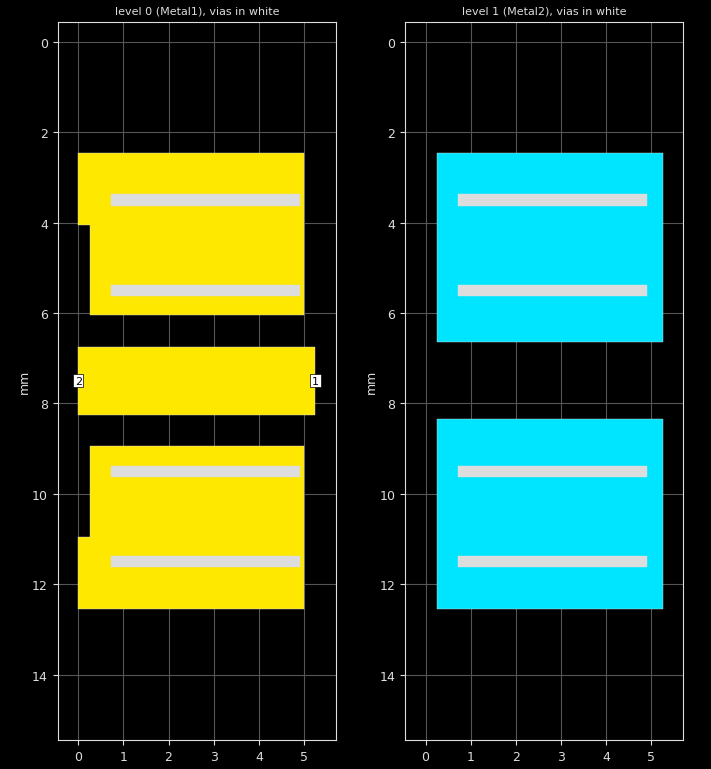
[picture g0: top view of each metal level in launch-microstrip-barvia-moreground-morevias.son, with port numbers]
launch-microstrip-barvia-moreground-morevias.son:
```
FTYP SONPROJ 18 ! Sonnet Project File
VER 17.56
HEADER
LIC antikernel2.1.50170 ac1f6b6437c5 havequick azonenberg Level3Gold
DAT 04/06/2021 21:40:31
BUILT_BY_CREATED dxf 17.52.2 05/01/2020 05:35:06
BUILT_BY_SAVED sonnet 17.56
MDATE 04/06/2021 21:40:31
HDATE 04/06/2021 21:40:31
ANN Created by dxfgeo, Sonnet Software Inc.
END HEADER
DIM
ANG DEG
CAP PF
CON /OH
FREQ GHZ
IND NH
LNG MM
RES OH
END DIM
CONTROL
VARSWP
OPTIONS  -dj
SPEED 0
CACHE_ABS 1
Q_ACC N
END CONTROL
GEO
SYM
TMET "Free Space" 0 FREESPACE 376.7303136 0 0 0
BMET "Free Space" 0 FREESPACE 376.7303136 0 0 0
MET "Copper 1oz thick" 2 TMM 58000000 0.5 0.035 2
MET "Nickel " 3 TMM 14300000 0.5 3.5e-05 2
MET "Copper 0.5oz" 1 NOR 58000000 0.5 0.0175 
MET "Unknown_metal" 1 NOR INF 0.5 0 
MET "Unknown_metal" 1 VOL INF 0
BRI "Alumina (96%)" 0 9.4 0.0004 0 
BRI "Alumina (99.5%)" 0 9.9 0.0001 0 
BRI "Aluminum Nitride" 0 8.6 0.0003 0 
BRI "Arlon 25FR" 0 3.58 0.0035 0 
BRI "Arlon 25N" 0 3.38 0.0025 0 
BRI "Arlon AD5" 0 5.1 0.003 0 
BRI "Arlon AD10" 0 10.2 0.005 0 
BRI "Arlon AD250" 0 2.5 0.0018 0 
BRI "Arlon AD255A" 0 2.55 0.0015 0 
BRI "Arlon AD260A" 0 2.6 0.0018 0 
BRI "Arlon AD270" 0 2.7 0.0023 0 
BRI "Arlon AD300A" 0 3 0.002 0 
BRI "Arlon AD320A" 0 3.2 0.0032 0 
BRI "Arlon AD350A" 0 3.5 0.003 0 
BRI "Arlon AD410" 0 4.1 0.003 0 
BRI "Arlon AD430" 0 4.3 0.003 0 
BRI "Arlon AD450" 0 4.5 0.0035 0 
BRI "Arlon AD600" 0 6.15 0.003 0 
BRI "Arlon AD1000" 0 10.2 0.0023 0 
BRI "Arlon AR1000" 0 9.8 0.003 0 
BRI "Arlon CLTE" 0 2.96 0.0023 0 
BRI "Arlon CLTE-AT" 0 3 0.0013 0 
BRI "Arlon CLTE-P" 0 2.94 0.0025 0 
BRI "Arlon CLTE-XT" 0 2.94 0.0012 0 
BRI "Arlon Cu 217LX" 0 2.17 0.0009 0 
BRI "Arlon Cu 233LX" 0 2.33 0.0013 0 
BRI "Arlon Cu 250GT" 0 2.5 0.001 0 
BRI "Arlon Cu 250GX" 0 2.5 0.0018 0 
BRI "Arlon Cu 6250" 0 2.32 0.0013 0 
BRI "Arlon Cu 6700" 0 2.35 0.0025 0 
BRI "Arlon Di 522" 0 2.5 0.001 0 
BRI "Arlon Di 527" 0 2.5 0.0018 0 
BRI "Arlon Di 870" 0 2.33 0.0013 0 
BRI "Arlon Di 880" 0 2.17 0.0009 0 
BRI "Arlon Iso 917" 0 2.17 0.0013 0 
BRI "Arlon Iso 933" 0 2.33 0.0016 0 
BRI "Arlon Multi HF" 0 3.7 0.004 0 
BRI "Arlon TC350" 0 3.5 0.002 0 
BRI "Arlon TC600" 0 6.15 0.002 0 
BRI "Beryllia (99.5%)" 0 6.5 0.0004 0 
BRI "CEM-1" 0 4.5 0.02 0 
BRI "CEM-3" 0 4.5 0.02 0 
BRI "Dupont 9K7" 0 7.1 0.0012 0 
BRI "Dupont 943" 0 7.4 0.002 0 
BRI "Dupont 951" 0 7.8 0.006 0 
BRI "Dupont FEP" 0 2 0.0005 0 
BRI "Dupont Vacrel" 0 3.8 0.011 0 
BRI "ESL 41010" 0 7.5 0.005 0 
BRI "ESL 41020" 0 7.25 0.005 0 
BRI "ESL 41050" 0 13.5 0.002 0 
BRI "ESL 41060" 0 16.5 0.002 0 
BRI "ESL 41110" 0 4.5 0.004 0 
BRI "Ferro A6M" 0 5.9 0.002 0 
BRI "Ferro A6S" 0 5.9 0.002 0 
BRI "Ferro L8" 0 7.3 0.0018 0 
BRI "FR-4" 0 4.4 0.02 0 
BRI "G-10" 0 4.8 0.025 0 
BRI "Gallium Arsenide" 0 12.9 0.006 0 
BRI "Gallium Nitride" 0 9.7 0 0 
BRI "Glass (Pyrex)" 0 4.82 0.0054 0 
BRI "Heraeus HL2000" 0 7.3 0.0026 0 
BRI "Isola 370HR" 0 4.04 0.021 0 
BRI "Isola FR408" 0 3.77 0.0116 0 
BRI "Isola FR408HR" 0 3.68 0.0092 0 
BRI "Isola Getek" 0 3.6 0.01 0 
BRI "Isola GI-180" 0 3.7 0.013 0 
BRI "Isola IS415" 0 3.82 0.0125 0 
BRI "Isola IS620i" 0 3.58 0.006 0 
BRI "Isola IS680-280" 0 2.8 0.0025 0 
BRI "Isola IS680-300" 0 3 0.003 0 
BRI "Isola IS680-320" 0 3.2 0.003 0 
BRI "Isola IS680-333" 0 3.33 0.003 0 
BRI "Isola IS680-338" 0 3.38 0.0032 0 
BRI "Isola IS680-345" 0 3.45 0.0036 0 
BRI "Kerafol CT800" 0 5.3 0.008 0 
BRI "Nelco MW9350" 0 3.7 0.004 0 
BRI "Nelco N4000-12" 0 3.7 0.008 0 
BRI "Nelco N4000-13" 0 3.7 0.009 0 
BRI "Nelco N4000-13SI" 0 3.2 0.007 0 
BRI "Nelco N4000-13EP" 0 3.7 0.008 0 
BRI "Nelco N4350-13RF" 0 3.5 0.0065 0 
BRI "Nelco N4380-13RF" 0 3.8 0.007 0 
BRI "Nelco N9300-13RF" 0 3 0.004 0 
BRI "Nelco N9320-13RF" 0 3.2 0.0045 0 
BRI "Nelco N9338-13RF" 0 3.38 0.0046 0 
BRI "Nelco N9350-13RF" 0 3.48 0.0055 0 
BRI "Nelco NH9294" 0 2.94 0.0022 0 
BRI "Nelco NH9300" 0 3 0.0023 0 
BRI "Nelco NH9320" 0 3.2 0.0024 0 
BRI "Nelco NH9338" 0 3.38 0.0025 0 
BRI "Nelco NH9348" 0 3.48 0.003 0 
BRI "Nelco NH9350" 0 3.5 0.003 0 
BRI "Nelco NH9410" 0 4.1 0.003 0 
BRI "Nelco NH9450" 0 4.5 0.003 0 
BRI "Nelco NX9240" 0 2.4 0.0016 0 
BRI "Nelco NX9245" 0 2.45 0.0016 0 
BRI "Nelco NX9250" 0 2.5 0.0017 0 
BRI "Nelco NX9255" 0 2.55 0.0018 0 
BRI "Nelco NX9260" 0 2.6 0.0019 0 
BRI "Nelco NY9208" 0 2.08 0.0006 0 
BRI "Nelco NY9217" 0 2.17 0.0008 0 
BRI "Nelco NY9220" 0 2.2 0.0009 0 
BRI "Nelco NY9233" 0 2.33 0.0011 0 
BRI "PET" 0 3.37 0.0208 0 
BRI "Polyimide" 0 3.5 0.003 0 
BRI "Quartz (Fused)" 0 3.78 0.0001 0 
BRI "Rogers 3001" 0 2.28 0.003 0 
BRI "Rogers RO2808" 0 7.6 0.0015 0 
BRI "Rogers RO3003" 0 3 0.0013 0 
BRI "Rogers RO3006" 0 6.5 0.002 0 
BRI "Rogers RO3010" 0 11.2 0.0022 0 
BRI "Rogers RO3035" 0 3.6 0.0018 0 
BRI "Rogers RO3203" 0 3.02 0.0016 0 
BRI "Rogers RO3206" 0 6.6 0.0027 0 
BRI "Rogers RO3210" 0 10.8 0.0027 0 
BRI "Rogers RO3730" 0 3 0.0016 0 
BRI "Rogers RO4003C" 0 3.55 0.0029 0 
BRI "Rogers RO4533" 0 3.45 0.0029 0 
BRI "Rogers RO4534" 0 3.4 0.003 0 
BRI "Rogers RO4350B" 0 3.66 0.0037 0 
BRI "Rogers RO4350BTX" 0 3.66 0.0034 0 
BRI "Rogers RO4360" 0 6.15 0.0038 0 
BRI "Rogers RO4450B-3.6" 0 3.3 0.0043 0 
BRI "Rogers RO4450B-4" 0 3.54 0.004 0 
BRI "Rogers RO4450F" 0 3.52 0.0041 0 
BRI "Rogers RO4730" 0 3 0.0033 0 
BRI "Rogers RT5870" 0 2.33 0.0012 0 
BRI "Rogers RT5880" 0 2.2 0.0009 0 
BRI "Rogers RT5880LZ" 0 1.96 0.0019 0 
BRI "Rogers RT6002" 0 2.94 0.0012 0 
BRI "Rogers RT6006" 0 6.15 0.0027 0 
BRI "Rogers RT6010LM" 0 10.9 0.0023 0 
BRI "Rogers RT6035HTC" 0 3.6 0.0013 0 
BRI "Rogers RT6202" 0 2.94 0.0015 0 
BRI "Rogers RT6202PR" 0 2.95 0.0015 0 
BRI "Rogers Syron7000" 0 3.4 0.0045 0 
BRI "Rogers Syron7100-2" 0 3.61 0.006 0 
BRI "Rogers Syron7100-4" 0 3.39 0.005 0 
BRI "Rogers Theta" 0 4.01 0.0118 0 
BRI "Rogers TMM 3" 0 3.39 0.002 0 
BRI "Rogers TMM 4" 0 4.5 0.002 0 
BRI "Rogers TMM 6" 0 6 0.0023 0 
BRI "Rogers TMM 10" 0 9.56 0.0022 0 
BRI "Rogers TMM 10i" 0 9.96 0.002 0 
BRI "Rogers UL2000" 0 2.5 0.0019 0 
BRI "Rogers UL3850" 0 3.05 0.0025 0 
BRI "Rogers UL3908" 0 2.9 0.0025 0 
BRI "Rogers XT8000" 0 3.34 0.0035 0 
BRI "Rogers XT8100-2" 0 3.54 0.0049 0 
BRI "Rogers XT8100-4" 0 3.32 0.0038 0 
BRI "Silicon (intrinsic)" 0 11.9 0.004 0.00044 
BRI "Silicon Dioxide" 0 3.9 0 0 
BRI "Silicon Nitride" 0 7.5 0 0 
BRI "Taconic CER-10" 0 10 0.0035 0 
BRI "Taconic FastFilm" 0 2.7 0.0012 0 
BRI "Taconic Fastrise-DS" 0 2.96 0.0018 0 
BRI "Taconic Fastrise27" 0 2.7 0.0014 0 
BRI "Taconic Fastrise77" 0 7.7 0.0034 0 
BRI "Taconic FEP" 0 2 0.0003 0 
BRI "Taconic RF-30" 0 3 0.0014 0 
BRI "Taconic RF-35" 0 3.5 0.0018 0 
BRI "Taconic RF-35A2" 0 3.5 0.0011 0 
BRI "Taconic RF-35P" 0 3.5 0.0025 0 
BRI "Taconic RF-41" 0 4.1 0.0038 0 
BRI "Taconic RF-43" 0 4.3 0.0033 0 
BRI "Taconic RF-45" 0 4.5 0.0037 0 
BRI "Taconic RF-60A" 0 6.15 0.0038 0 
BRI "Taconic RF-301" 0 2.97 0.0012 0 
BRI "Taconic TacBond HT" 0 2.35 0.0025 0 
BRI "Taconic TLA-6" 0 2.62 0.0012 0 
BRI "Taconic TLC-27" 0 2.75 0.003 0 
BRI "Taconic TLC-30" 0 3 0.003 0 
BRI "Taconic TLC-32" 0 3.2 0.003 0 
BRI "Taconic TLE-95" 0 2.95 0.0028 0 
BRI "Taconic TLF-34" 0 3.4 0.002 0 
BRI "Taconic TLF-35" 0 3.5 0.002 0 
BRI "Taconic TLP-3" 0 2.33 0.0009 0 
BRI "Taconic TLP-5" 0 2.2 0.0009 0 
BRI "Taconic TLP-5A" 0 2.17 0.0009 0 
BRI "Taconic TLT-0" 0 2.45 0.0006 0 
BRI "Taconic TLT-9" 0 2.5 0.0006 0 
BRI "Taconic TLT-8" 0 2.55 0.0006 0 
BRI "Taconic TLT-7" 0 2.6 0.0006 0 
BRI "Taconic TLT-6" 0 2.65 0.0006 0 
BRI "Taconic TLX-0" 0 2.45 0.0019 0 
BRI "Taconic TLX-9" 0 2.5 0.0019 0 
BRI "Taconic TLX-8" 0 2.55 0.0019 0 
BRI "Taconic TLX-7" 0 2.6 0.0019 0 
BRI "Taconic TLX-6" 0 2.65 0.0019 0 
BRI "Taconic TLY-3" 0 2.33 0.0009 0 
BRI "Taconic TLY-3F" 0 2.33 0.0009 0 
BRI "Taconic TLY-5" 0 2.2 0.0009 0 
BRI "Taconic TLY-5-L" 0 2.2 0.0009 0 
BRI "Taconic TLY-5A" 0 2.17 0.0009 0 
BRI "Taconic TLY-5A-L" 0 2.17 0.0009 0 
BRI "Taconic TPG-30" 0 3 0.0038 0 
BRI "Taconic TPG-32" 0 3.2 0.005 0 
BRI "Taconic TPG-35" 0 3.5 0.005 0 
BRI "Taconic TRF-41" 0 4.1 0.0035 0 
BRI "Taconic TRF-43" 0 4.3 0.0035 0 
BRI "Taconic TRF-45" 0 4.5 0.0035 0 
BRI "Taconic TSM-DS" 0 2.85 0.001 0 
BRI "Taconic TSM-DS3" 0 3 0.0011 0 
BRI "Taconic TSM-26" 0 2.6 0.0014 0 
BRI "Taconic TSM-29" 0 2.94 0.0013 0 
BRI "Taconic TSM-30" 0 3 0.0013 0 
BRI "Teflon (PTFE)" 0 2.08 0.0004 0 
BOX 3 5.25 15 420 1200 20 0
      1 1 1 0 0 0 0 "Air"
      0.166 3.6 1 0.0092 0 0 0 "Isola FR408HR"
      1.4 3.6 1 0.0092 0 0 0 "Isola FR408HR"
      1 1 1 0 0 0 0 "Air"
TECHLAY METAL Metal1 BLACK -2 0 
0 0 0 N 1567 1 1 100 100 0 0 0 Y
END
END
TECHLAY METAL Metal2 BLACK -3 0 
1 0 2 N 1572 1 1 100 100 0 0 0 Y
END
END
TECHLAY VIA Via1 <UNSPECIFIED> -4 0 
VIA POLYGON
1 0 -1 N 1574 1 1 100 100 0 0 0 Y
TOLEVEL 0 RING NOCOVERS
END
END
VALVAR BOTLEN LNG 2 "Dim. Param."
VALVAR TOPLEN LNG 3 "Dim. Param."
VALVAR CUTOUT LNG 1.7 "Dim. Param."
LORGN 0 15 U 
POR1 BOX
POLY 1063 1
3
2 50 0 0 0 1.110223025e-16 7.5 
POR1 BOX
POLY 1063 1
5
1 50 0 0 0 5.25 7.5 
NUM 9
0 7 0 N 1063 1 1 100 100 0 0 0 Y
TLAYNAM Metal1 INH
5.25 6.75
0 6.75
0 6.75
1.110223025e-16 6.75
1.110223025e-16 8.25
5.25 8.25
5.25 6.75
END
0 8 0 N 1589 1 1 100 100 0 0 0 Y
TLAYNAM Metal1 INH
5 10.95
5 8.95
0.25 8.95
0.25 10.95
0 10.95
0 12.55
5 12.55
5 10.95
END
0 8 0 N 1590 1 1 100 100 0 0 0 Y
TLAYNAM Metal1 INH
5 4.05
5 2.45
0 2.45
0 4.05
0.25 4.05
0.25 6.05
5 6.05
5 4.05
END
1 5 2 N 1076 1 1 100 100 0 0 0 Y
TLAYNAM Metal2 INH
5.25 8.35
0.25 8.35
0.25 12.55
5.25 12.55
5.25 8.35
END
1 5 2 N 1077 1 1 100 100 0 0 0 Y
TLAYNAM Metal2 INH
5.25 2.45
0.25 2.45
0.25 6.65
5.25 6.65
5.25 2.45
END
VIA POLYGON
1 5 -1 N 1345 1 1 100 100 0 0 0 Y
TOLEVEL 0 RING NOCOVERS
TLAYNAM Via1 INH
0.725 3.375
4.9 3.375
4.9 3.625
0.725 3.625
0.725 3.375
END
VIA POLYGON
1 5 -1 N 1346 1 1 100 100 0 0 0 Y
TOLEVEL 0 RING NOCOVERS
TLAYNAM Via1 INH
0.725 11.375
4.9 11.375
4.9 11.625
0.725 11.625
0.725 11.375
END
VIA POLYGON
1 5 -1 N 1591 1 1 100 100 0 0 0 Y
TOLEVEL 0 RING NOCOVERS
TLAYNAM Via1 INH
0.725 5.375
4.9 5.375
4.9 5.625
0.725 5.625
0.725 5.375
END
VIA POLYGON
1 5 -1 N 1592 1 1 100 100 0 0 0 Y
TOLEVEL 0 RING NOCOVERS
TLAYNAM Via1 INH
0.725 9.375
4.9 9.375
4.9 9.625
0.725 9.625
0.725 9.375
END
END GEO
OPT
MAX 100
END OPT
VARSWP
ENABLED Y
FREQ Y AY ABS_ENTRY 0.01 16.0 -1 300 
VAR CUTOUT Y 1.6 1.8 0.1
END
END VARSWP
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```
